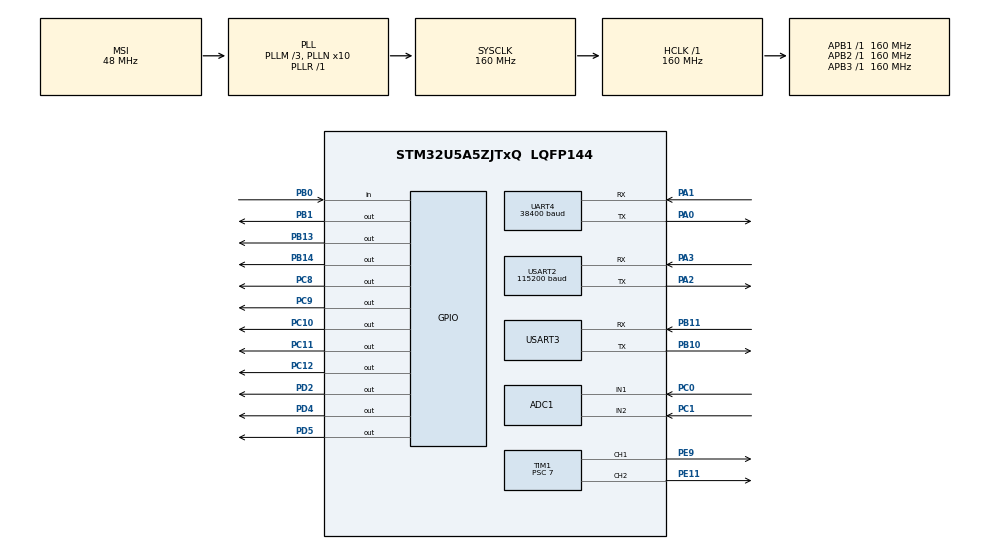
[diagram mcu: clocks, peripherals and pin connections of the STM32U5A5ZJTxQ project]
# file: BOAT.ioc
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ADC1.Channel-1\#ChannelRegularConversion=ADC_CHANNEL_1
ADC1.Channel-2\#ChannelRegularConversion=ADC_CHANNEL_2
ADC1.ContinuousConvMode=ENABLE
ADC1.DMAContinuousRequests=DISABLE
ADC1.MonitoredBy-1\#ChannelRegularConversion=__NULL
ADC1.MonitoredBy-2\#ChannelRegularConversion=__NULL
ADC1.NbrOfConversion=2
ADC1.NbrOfConversionFlag=1
ADC1.OffsetNumber-1\#ChannelRegularConversion=ADC_OFFSET_NONE
ADC1.OffsetNumber-2\#ChannelRegularConversion=ADC_OFFSET_NONE
ADC1.Rank-1\#ChannelRegularConversion=1
ADC1.Rank-2\#ChannelRegularConversion=2
ADC1.SamplingTime-1\#ChannelRegularConversion=ADC_SAMPLETIME_391CYCLES_5
ADC1.SamplingTime-2\#ChannelRegularConversion=ADC_SAMPLETIME_391CYCLES_5
ADC1.master=1
CORTEX_M33_NS.userName=CORTEX_M33
Mcu.Family=STM32U5
Mcu.Name=STM32U5A5ZJTxQ
Mcu.Package=LQFP144
NVIC.PriorityGroup=NVIC_PRIORITYGROUP_2
NVIC.UART4_IRQn=true\:2\:1\:true\:false\:true\:true\:true\:true
NVIC.USART2_IRQn=true\:2\:1\:true\:false\:true\:true\:true\:true
NVIC.USART3_IRQn=true\:0\:0\:false\:false\:true\:true\:true\:true
PA0.Mode=Asynchronous
PA0.Signal=UART4_TX
PA1.Mode=Asynchronous
PA1.Signal=UART4_RX
PA13\ (JTMS/SWDIO).Mode=Serial_Wire
PA13\ (JTMS/SWDIO).Signal=DEBUG_JTMS-SWDIO
PA14\ (JTCK/SWCLK).Mode=Serial_Wire
PA14\ (JTCK/SWCLK).Signal=DEBUG_JTCK-SWCLK
PA2.Mode=Asynchronous
PA2.Signal=USART2_TX
PA3.Mode=Asynchronous
PA3.Signal=USART2_RX
PB0.GPIO_PuPd=GPIO_PULLUP
PB0.Signal=GPIO_Input
PB1.Signal=GPIO_Output
PB10.Mode=Asynchronous
PB10.Signal=USART3_TX
PB11.Mode=Asynchronous
PB11.Signal=USART3_RX
PB13.Signal=GPIO_Output
PB14.Signal=GPIO_Output
PC0.Mode=IN1-Single-Ended
PC0.Signal=ADC1_IN1
PC1.Mode=IN2-Single-Ended
PC1.Signal=ADC1_IN2
PC10.Signal=GPIO_Output
PC11.Signal=GPIO_Output
PC12.Signal=GPIO_Output
PC14-OSC32_IN\ (PC14).Mode=LSE-External-Oscillator
PC14-OSC32_IN\ (PC14).Signal=RCC_OSC32_IN
PC15-OSC32_OUT\ (PC15).Mode=LSE-External-Oscillator
PC15-OSC32_OUT\ (PC15).Signal=RCC_OSC32_OUT
PC8.Signal=GPIO_Output
PC9.Signal=GPIO_Output
PD2.Signal=GPIO_Output
PD4.PinState=GPIO_PIN_SET
PD4.Signal=GPIO_Output
PD5.PinState=GPIO_PIN_SET
PD5.Signal=GPIO_Output
PE11.Signal=S_TIM1_CH2
PE9.Signal=S_TIM1_CH1
PH0-OSC_IN\ (PH0).Mode=HSE-External-Oscillator
PH0-OSC_IN\ (PH0).Signal=RCC_OSC_IN
PH1-OSC_OUT\ (PH1).Mode=HSE-External-Oscillator
PH1-OSC_OUT\ (PH1).Signal=RCC_OSC_OUT
ProjectManager.HeapSize=0x200
ProjectManager.StackSize=0x400
ProjectManager.TargetToolchain=MDK-ARM V5.32
RCC.ADCFreq_Value=16000000
RCC.AHBFreq_Value=160000000
RCC.APB1Freq_Value=160000000
RCC.APB1TimFreq_Value=160000000
RCC.APB2Freq_Value=160000000
RCC.APB2TimFreq_Value=160000000
RCC.APB3Freq_Value=160000000
RCC.CortexFreq_Value=160000000
RCC.EPOD_VALUE=48000000
RCC.HCLKFreq_Value=160000000
RCC.HSE_VALUE=16000000
RCC.HSI48_VALUE=48000000
RCC.HSI_VALUE=16000000
RCC.LSIDIV_VALUE=32000
RCC.MSIClockRange=RCC_MSIRANGE_0
RCC.MSI_VALUE=48000000
RCC.PLL1R=1
RCC.PLL2FRACN=0
RCC.PLL3FRACN=0
RCC.PLLFRACN=0
RCC.PLLM=3
RCC.PLLN=10
RCC.SYSCLKFreq_VALUE=160000000
RCC.SYSCLKSource=RCC_SYSCLKSOURCE_PLLCLK
RCC.VCOOutputFreq_Value=160000000
SH.S_TIM1_CH1.0=TIM1_CH1,PWM Generation1 CH1
SH.S_TIM1_CH2.0=TIM1_CH2,PWM Generation2 CH2
TIM1.AutoReloadPreload=TIM_AUTORELOAD_PRELOAD_ENABLE
TIM1.Channel-PWM\ Generation1\ CH1=TIM_CHANNEL_1
TIM1.Channel-PWM\ Generation2\ CH2=TIM_CHANNEL_2
TIM1.PeriodNoDither=999
TIM1.Prescaler=7
UART4.BaudRate=38400
USART2.BaudRate=115200
USART2.VirtualMode-Asynchronous=VM_ASYNC
USART3.VirtualMode-Asynchronous=VM_ASYNC
VP_ICACHE_VS_ICACHE.Mode=DirectMappedCache
VP_LPBAMQUEUE_VS_QUEUE.Mode=QUEUEMODE
VP_LPBAM_VS_SIG1.Mode=SmartRun
VP_LPBAM_VS_SIG4.Mode=LPDMA1
VP_MEMORYMAP_VS_MEMORYMAP.Mode=CurAppReg
VP_PWR_VS_SECSignals.Mode=Security/Privilege
VP_PWR_Vdda.Mode=isolationVdda
VP_TIM1_VS_ClockSourceINT.Mode=Internal
board=custom

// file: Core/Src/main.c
/* USER CODE BEGIN Header */
/**
  ******************************************************************************
  * @file           : main.c
  * @brief          : Main program body
  ******************************************************************************
  * @attention
  *
  * Copyright (c) 2026 STMicroelectronics.
  * All rights reserved.
  *
  * This software is licensed under terms that can be found in the LICENSE file
  * in the root directory of this software component.
  * If no LICENSE file comes with this software, it is provided AS-IS.
  *
  ******************************************************************************
  */
/* USER CODE END Header */
#include "main.h"
#include "adc.h"
#include "icache.h"
#include "tim.h"
#include "usart.h"
#include "gpio.h"

/* USER CODE BEGIN Includes */
#include <string.h>
#include <stdlib.h>
#include "Motor.h"
#include "Lora.h"
#include "DS18B20.h"
#include "PH.h"
#include "GPS.h"
#include "IMU901.h"
#include "Navigation.h"
#include "EdgeAI.h"

/* USER CODE END Includes */

/* USER CODE BEGIN PD */
#define TELEMETRY_ADC_FULL_SCALE        16383U
#define TELEMETRY_ADC_VREF_MV           3300U
#define TELEMETRY_PH_SCALE_NUM          1U
#define TELEMETRY_PH_SCALE_DEN          1U
/* 遥测周期。这是上行占用的空口时间，直接决定下行命令能否挤进去。
 *
 * 实测（90 字节下行报文，各测 3 次）：
 *   遥测 1000ms -> 下行 0/3    空口被占满，命令完全发不进去
 *   遥测 1500ms -> 下行 3/3
 *   遥测 2000ms -> 下行 3/3
 *   遥测 3000ms -> 下行 3/3
 *
 * 取 2000ms 作为默认：比临界点 1500 留出余量，现场射频环境更差时也不至于失联。
 * 需要更快的界面刷新可以在运行时用 T<毫秒> 指令调整。 */
#define TELEMETRY_PERIOD_MS              2000U
#define NAV_UPDATE_PERIOD_MS             50U
/* USER CODE END PD */

/* USER CODE BEGIN PV */
static uint32_t last_telemetry_ms = 0;
static uint32_t last_nav_update_ms = 0;

/* 遥测周期可调。上行遥测会占用空中时间，与下行命令互相抢信道；
 * 把周期拉长可以给下行腾出空口，用于排查链路问题。 */
static uint32_t telemetry_period_ms = TELEMETRY_PERIOD_MS;
/* USER CODE END PV */

void SystemClock_Config(void);
/* USER CODE BEGIN PFP */
static uint32_t Telemetry_ReadAdcRaw(uint32_t channel);
static uint32_t Telemetry_AdcRawToMv(uint32_t raw);
static int32_t Telemetry_ScaleFloat(float value, float scale);
static int32_t Telemetry_CalcPhX100(uint32_t sensor_mv);
static void Telemetry_SendData(void);
/* USER CODE END PFP */

/* USER CODE BEGIN 0 */
static uint32_t Telemetry_ReadAdcRaw(uint32_t channel)
{
  ADC_ChannelConfTypeDef sConfig = {0};
  uint32_t value = 0;

  HAL_ADC_Stop(&hadc1);

  sConfig.Channel = channel;
  sConfig.Rank = ADC_REGULAR_RANK_1;
  sConfig.SamplingTime = ADC_SAMPLETIME_391CYCLES_5;
  sConfig.SingleDiff = ADC_SINGLE_ENDED;
  sConfig.OffsetNumber = ADC_OFFSET_NONE;
  sConfig.Offset = 0;

  if (HAL_ADC_ConfigChannel(&hadc1, &sConfig) != HAL_OK)
  {
    return 0xFFFFFFFFU;
  }

  if (HAL_ADC_Start(&hadc1) != HAL_OK)
  {
    return 0xFFFFFFFFU;
  }

  if (HAL_ADC_PollForConversion(&hadc1, 20) == HAL_OK)
  {
    value = HAL_ADC_GetValue(&hadc1);
  }
  else
  {
    value = 0xFFFFFFFFU;
  }

  HAL_ADC_Stop(&hadc1);
  return value;
}

static uint32_t Telemetry_AdcRawToMv(uint32_t raw)
{
  return raw * TELEMETRY_ADC_VREF_MV / TELEMETRY_ADC_FULL_SCALE;
}

static int32_t Telemetry_ScaleFloat(float value, float scale)
{
  if (value >= 0.0f)
  {
    return (int32_t)(value * scale + 0.5f);
  }
  return (int32_t)(value * scale - 0.5f);
}

static int32_t Telemetry_CalcPhX100(uint32_t sensor_mv)
{
  float voltage = (float)sensor_mv / 1000.0f;
  float ph = -5.6342f * voltage + 16.413f;

  if (ph < 0.0f) ph = 0.0f;
  if (ph > 14.0f) ph = 14.0f;

  return Telemetry_ScaleFloat(ph, 100.0f);
}

static void Telemetry_SendData(void)
{
  static uint32_t seq = 0;
  uint32_t ph_raw = Telemetry_ReadAdcRaw(PH_ADC_CHANNEL);
  uint32_t ph_adc_mv = (ph_raw == 0xFFFFFFFFU) ? 0U : Telemetry_AdcRawToMv(ph_raw);
  uint32_t ph_sensor_mv = ph_adc_mv * TELEMETRY_PH_SCALE_NUM / TELEMETRY_PH_SCALE_DEN;
  int32_t ph_x100 = (ph_raw == 0xFFFFFFFFU) ? 0 : Telemetry_CalcPhX100(ph_sensor_mv);
  float temp = DS18B20_GetTemp();
  uint8_t temp_valid = (temp > -100.0f) ? 1U : 0U;
  int32_t temp_x100 = temp_valid ? Telemetry_ScaleFloat(temp, 100.0f) : 0;
  uint8_t gps_valid = GPS_IsFixed() ? 1U : 0U;
  int32_t lat_x1e7 = gps_valid ? Telemetry_ScaleFloat(gps_data.latitude, 10000000.0f) : 0;
  int32_t lon_x1e7 = gps_valid ? Telemetry_ScaleFloat(gps_data.longitude, 10000000.0f) : 0;
  uint8_t imu_valid = (imu901_attitude_count > 0U) ? 1U : 0U;
  int32_t imu_roll_x100 = imu_valid ? Telemetry_ScaleFloat(attitude.roll, 100.0f) : 0;
  int32_t imu_pitch_x100 = imu_valid ? Telemetry_ScaleFloat(attitude.pitch, 100.0f) : 0;
  int32_t imu_yaw_x100 = imu_valid ? Telemetry_ScaleFloat(attitude.yaw, 100.0f) : 0;
  EdgeAI_Status_t ai_status;

  EdgeAI_UpdatePh(ph_x100, (ph_raw == 0xFFFFFFFFU) ? 0U : ph_raw, ph_sensor_mv);
  EdgeAI_UpdateTemperature(temp_x100, temp_valid);
  ai_status = EdgeAI_GetStatus();

  Lora_Printf("{\"t\":\"data\",\"v\":1,\"seq\":%lu,\"ms\":%lu,"
              "\"ph\":%ld,\"phr\":%lu,\"phmv\":%lu,"
              "\"tc\":%ld,\"tv\":%u,"
              "\"fix\":%u,\"sat\":%u,\"lat\":%ld,\"lon\":%ld,"
              "\"iv\":%u,\"ir\":%ld,\"ip\":%ld,\"iy\":%ld,\"ib\":%lu,\"ia\":%lu,"
              "\"gb\":%lu,\"gl\":%lu,\"lr\":%lu,"
              "\"ns\":%u,\"nd\":%ld,\"nt\":%ld,\"bs\":%u,\"bd\":%ld,\"rs\":%u,\"rd\":%ld,\"xt\":%ld,\"ch\":%ld,"
              "\"to\":%d,\"lw\":%d,\"rw\":%d,"
              "\"hk\":%ld,\"hi\":%ld,\"hd\":%ld,\"xk\":%ld,\"xi\":%ld,\"xd\":%ld,"
              "\"aiph\":%u,\"aiphn\":%u,\"ait\":%u,\"aitn\":%u,"
              "\"api\":%d,\"apd\":%d,\"ati\":%d,\"atd\":%d,"
              "\"mls\":%ld,\"mrs\":%ld,\"mlo\":%ld,\"mro\":%ld,"
              "\"mlz\":%ld,\"mrz\":%ld,\"ys\":%d,\"yos\":%ld,\"mds\":%d}\r\n",
              (unsigned long)seq++,
              (unsigned long)HAL_GetTick(),
              (long)ph_x100,
              (unsigned long)((ph_raw == 0xFFFFFFFFU) ? 0U : ph_raw),
              (unsigned long)ph_sensor_mv,
              (long)temp_x100,
              temp_valid,
              gps_data.fix,
              gps_data.satellite_num,
              (long)lat_x1e7,
              (long)lon_x1e7,
              imu_valid,
              (long)imu_roll_x100,
              (long)imu_pitch_x100,
              (long)imu_yaw_x100,
              (unsigned long)imu901_rx_count,
              (unsigned long)imu901_attitude_count,
              (unsigned long)gps_rx_count,
              (unsigned long)gps_sentence_count,
              (unsigned long)lora_rx_bytes,
              (unsigned int)nav.state,
              (long)((nav.state != NAV_IDLE) ? (nav.distance * 100.0f) : 0.0f),
              (long)(nav.heading_error * 100.0f),
              (unsigned int)nav.boundary_state,
              (long)(nav.boundary_distance_m * 100.0f),
              (unsigned int)nav.return_state,
              (long)(nav.return_distance_m * 100.0f),
              (long)(nav.cross_track_error_m * 100.0f),
              (long)(nav.corrected_heading * 100.0f),
              (int)nav.turn_output,
              (int)Motor_GetLastPwm(MOTOR_SPEED_LEFT),
              (int)Motor_GetLastPwm(MOTOR_SPEED_RIGHT),
              (long)(heading_pid.kp * 1000.0f),
              (long)(heading_pid.ki * 1000.0f),
              (long)(heading_pid.kd * 1000.0f),
              (long)(crosstrack_pid.kp * 1000.0f),
              (long)(crosstrack_pid.ki * 1000.0f),
              (long)(crosstrack_pid.kd * 1000.0f),
              ai_status.ph_similarity,
              ai_status.ph_normal,
              ai_status.temperature_similarity,
              ai_status.temperature_normal,
              (int)ai_status.ph_init_state,
              (int)ai_status.ph_detect_state,
              (int)ai_status.temperature_init_state,
              (int)ai_status.temperature_detect_state,
              (long)(motor_cal.left_scale * 100.0f),
              (long)(motor_cal.right_scale * 100.0f),
              (long)motor_cal.left_offset,
              (long)motor_cal.right_offset,
              (long)motor_cal.left_deadzone,
              (long)motor_cal.right_deadzone,
              (int)Navigation_GetYawSign(),
              (long)(Navigation_GetYawOffset() * 100.0f),
              (int)motor_cal.dir_sign);
}
/* USER CODE END 0 */

int main(void)
{

  /* MCU Configuration--------------------------------------------------------*/

  /* Reset of all peripherals, Initializes the Flash interface and the Systick. */
  HAL_Init();

  /* Configure the system clock */
  SystemClock_Config();

  /* Initialize all configured peripherals */
  MX_GPIO_Init();
  MX_ICACHE_Init();
  MX_TIM1_Init();
  MX_ADC1_Init();
  MX_USART2_UART_Init();
  MX_USART3_UART_Init();
  MX_UART4_Init();
  /* USER CODE BEGIN 2 */
  Motor_Init();
  Motor_Stop_All();
  Lora_Init();
  Lora_StartReceive();
  DS18B20_Init();
  PH_Init();
  GPS_Init();
  IMU901_Init();
  Navigation_Init();
  EdgeAI_Init();

  Lora_Printf("{\"t\":\"boot\",\"v\":1,\"ms\":%lu,\"msg\":\"boat telemetry start\",\"phdiv\":100,\"tbdiv\":150}\r\n",
              (unsigned long)HAL_GetTick());
  /* USER CODE END 2 */

  /* Infinite loop */
  while (1)
  {

    /* USER CODE BEGIN 3 */
    /* check LoRa downlink target command */
    {
      Lora_TargetCmd_t cmd;
      if (Lora_GetPendingCommand(&cmd))
      {
        Navigation_SetMissionTarget((float)cmd.lat / 10000000.0f,
                                    (float)cmd.lon / 10000000.0f,
                                    (float)cmd.ar,
                                    (float)cmd.r,
                                    (float)cmd.rr,
                                    (float)cmd.bclat / 10000000.0f,
                                    (float)cmd.bclon / 10000000.0f,
                                    cmd.blen,
                                    cmd.bwid,
                                    (float)cmd.bm);
        Navigation_Start();
        Lora_Printf("{\"t\":\"ack\",\"kind\":\"target\",\"zone\":\"%s\",\"lat\":%ld,\"lon\":%ld,\"r\":%ld,\"ar\":%ld,\"rr\":%ld,\"bm\":%ld}\r\n",
                     cmd.zone, (long)cmd.lat, (long)cmd.lon, (long)cmd.r, (long)cmd.ar, (long)cmd.rr, (long)cmd.bm);
      }
    }

    /* check LoRa downlink cmd command */
    {
      Lora_Cmd_t cmd;
      if (Lora_GetPendingCmd(&cmd))
      {
        if (strcmp(cmd.cmd, "stop") == 0)
        {
          Navigation_Stop();
          Lora_Printf("{\"t\":\"ack\",\"kind\":\"cmd\",\"cmd\":\"stop\"}\r\n");
        }
        else if (strcmp(cmd.cmd, "start") == 0)
        {
          Lora_Printf("{\"t\":\"ack\",\"kind\":\"cmd\",\"cmd\":\"start\"}\r\n");
        }
        else if (strcmp(cmd.cmd, "sensor") == 0)
        {
          Telemetry_SendData();
          last_telemetry_ms = HAL_GetTick();
          Lora_Printf("{\"t\":\"ack\",\"kind\":\"cmd\",\"cmd\":\"sensor\"}\r\n");
        }
        else if (cmd.cmd[0] == 'T' && cmd.cmd[1] >= '0' && cmd.cmd[1] <= '9')
        {
          /* T<ms> 设定遥测周期 */
          uint32_t ms = (uint32_t)atoi(&cmd.cmd[1]);
          if (ms < 200U)  ms = 200U;
          if (ms > 60000U) ms = 60000U;
          telemetry_period_ms = ms;
          Lora_Printf("{\"t\":\"ack\",\"kind\":\"cmd\",\"cmd\":\"T\",\"period\":%lu}\r\n",
                      (unsigned long)telemetry_period_ms);
        }
        else if (strcmp(cmd.cmd, "quiet") == 0)
        {
          telemetry_period_ms = 8000U;
          Lora_Printf("{\"t\":\"ack\",\"kind\":\"cmd\",\"cmd\":\"quiet\",\"period\":%lu}\r\n",
                      (unsigned long)telemetry_period_ms);
        }
        else if (strcmp(cmd.cmd, "loud") == 0)
        {
          telemetry_period_ms = TELEMETRY_PERIOD_MS;
          Lora_Printf("{\"t\":\"ack\",\"kind\":\"cmd\",\"cmd\":\"loud\",\"period\":%lu}\r\n",
                      (unsigned long)telemetry_period_ms);
        }
        else if (strcmp(cmd.cmd, "dtest") == 0)
        {
          Navigation_Stop();
          /* 方向引脚直接测试：正转 2s → 反转 2s */
          HAL_GPIO_WritePin(GPIOC, GPIO_PIN_8, GPIO_PIN_SET);
          HAL_GPIO_WritePin(GPIOC, GPIO_PIN_9, GPIO_PIN_RESET);
          HAL_GPIO_WritePin(GPIOC, GPIO_PIN_10, GPIO_PIN_SET);
          HAL_GPIO_WritePin(GPIOC, GPIO_PIN_11, GPIO_PIN_RESET);
          __HAL_TIM_SET_COMPARE(&htim1, TIM_CHANNEL_1, 500);
          __HAL_TIM_SET_COMPARE(&htim1, TIM_CHANNEL_2, 500);
          Lora_Printf("{\"t\":\"ack\",\"kind\":\"dtest\",\"dir\":\"FWD\",\"pc_odr\":\"0x%04lx\",\"pc8\":%d,\"pc9\":%d}\r\n",
                       (unsigned long)(GPIOC->ODR & 0xFFFFUL),
                       (int)((GPIOC->ODR & GPIO_PIN_8) ? 1 : 0),
                       (int)((GPIOC->ODR & GPIO_PIN_9) ? 1 : 0));
          HAL_Delay(2000);
          HAL_GPIO_WritePin(GPIOC, GPIO_PIN_8, GPIO_PIN_RESET);
          HAL_GPIO_WritePin(GPIOC, GPIO_PIN_9, GPIO_PIN_SET);
          HAL_GPIO_WritePin(GPIOC, GPIO_PIN_10, GPIO_PIN_RESET);
          HAL_GPIO_WritePin(GPIOC, GPIO_PIN_11, GPIO_PIN_SET);
          __HAL_TIM_SET_COMPARE(&htim1, TIM_CHANNEL_1, 500);
          __HAL_TIM_SET_COMPARE(&htim1, TIM_CHANNEL_2, 500);
          Lora_Printf("{\"t\":\"ack\",\"kind\":\"dtest\",\"dir\":\"REV\",\"pc_odr\":\"0x%04lx\",\"pc8\":%d,\"pc9\":%d}\r\n",
                       (unsigned long)(GPIOC->ODR & 0xFFFFUL),
                       (int)((GPIOC->ODR & GPIO_PIN_8) ? 1 : 0),
                       (int)((GPIOC->ODR & GPIO_PIN_9) ? 1 : 0));
          HAL_Delay(2000);
          Motor_Stop_All();
          Lora_Printf("{\"t\":\"ack\",\"kind\":\"dtest\",\"msg\":\"done\"}\r\n");
        }
        else
        {
          Lora_Printf("{\"t\":\"ack\",\"kind\":\"cmd\",\"cmd\":\"%s\",\"err\":\"unknown\"}\r\n", cmd.cmd);
        }
      }
    }

    /* check LoRa downlink motor command */
    {
      Lora_MotorCmd_t cmd;
      if (Lora_GetPendingMotorCmd(&cmd))
      {
        Navigation_Stop();
        Lora_Printf("{\"t\":\"ack\",\"kind\":\"motor_raw\",\"l\":%ld,\"r\":%ld}\r\n",
                     (long)cmd.l, (long)cmd.r);
        Motor_Go_PWM(MOTOR_SPEED_LEFT, (int16_t)cmd.l);
        Motor_Go_PWM(MOTOR_SPEED_RIGHT, (int16_t)cmd.r);
        Lora_Printf("{\"t\":\"ack\",\"kind\":\"motor\",\"l\":%ld,\"r\":%ld}\r\n",
                     (long)cmd.l, (long)cmd.r);
      }
    }

    /* check LoRa downlink pid command (运行时整定，免重新烧录) */
    {
      Lora_PidCmd_t cmd;
      if (Lora_GetPendingPidCmd(&cmd))
      {
        Navigation_SetPid(cmd.hkp, cmd.hki, cmd.hkd, cmd.xkp, cmd.xki, cmd.xkd);
        if (cmd.ys != 0) Navigation_SetYawSign(cmd.ys);   /* IMU 方向翻转，水上可改 */
        if (cmd.yawos != -999.0f) Navigation_SetYawOffset(cmd.yawos);  /* IMU 安装偏置 */
        /* 增益用整数 ×1000 回显。newlib-nano 默认不链接浮点 printf，
         * 原来的 %.3f 会输出空字符串（"hk":,），命令有没有生效完全看不出来。
         * 与遥测里的 hk/hi/hd 保持同一种编码，也不引入浮点格式化开销。 */
        Lora_Printf("{\"t\":\"ack\",\"kind\":\"pid\",\"hk\":%ld,\"hi\":%ld,\"hd\":%ld,"
                    "\"xk\":%ld,\"xi\":%ld,\"xd\":%ld,\"ys\":%d,\"yawos\":%ld}\r\n",
                    (long)(heading_pid.kp * 1000.0f), (long)(heading_pid.ki * 1000.0f),
                    (long)(heading_pid.kd * 1000.0f),
                    (long)(crosstrack_pid.kp * 1000.0f), (long)(crosstrack_pid.ki * 1000.0f),
                    (long)(crosstrack_pid.kd * 1000.0f),
                    (int)Navigation_GetYawSign(),
                    (long)(Navigation_GetYawOffset() * 100.0f));
      }
    }

    /* check LoRa downlink heading test command（室内调内环，不需要 GPS） */
    {
      Lora_HeadingCmd_t cmd;
      if (Lora_GetPendingHeadingCmd(&cmd))
      {
        if (cmd.query)
        {
          NavHeadingMetrics_t m;
          Navigation_GetHeadingMetrics(&m);
          /* 角度统一 ×100 用整数回传（newlib-nano 不支持 %f） */
          Lora_Printf("{\"t\":\"ack\",\"kind\":\"hdg\",\"q\":1,"
                      "\"tg\":%ld,\"cur\":%ld,\"err\":%ld,\"step\":%ld,"
                      "\"ovs\":%ld,\"ts\":%ld,\"rms\":%ld,\"cx\":%u,\"n\":%lu}\r\n",
                      (long)(m.target_deg * 100.0f), (long)(m.current_deg * 100.0f),
                      (long)(m.err_deg * 100.0f), (long)(m.step_deg * 100.0f),
                      (long)(m.overshoot_deg * 100.0f), (long)(m.settle_time_s * 100.0f),
                      (long)(m.rms_err_deg * 100.0f), (unsigned)m.crossings,
                      (unsigned long)m.samples);
        }
        else
        {
          Navigation_StartHeadingTest(cmd.deg, cmd.spd);
          Lora_Printf("{\"t\":\"ack\",\"kind\":\"hdg\",\"tg\":%ld}\r\n",
                      (long)(nav.target_heading * 100.0f));
        }
      }
    }

    /* check LoRa downlink mcal (motor calibration) command */
    {
      Lora_MotorCalCmd_t cmd;
      if (Lora_GetPendingMotorCalCmd(&cmd))
      {
        Motor_SetCalibration(cmd.ls, cmd.rs, cmd.lo, cmd.ro, cmd.ldz, cmd.rdz);
        if (cmd.dir != 0) Motor_SetDirSign(cmd.dir);
        Lora_Printf("{\"t\":\"ack\",\"kind\":\"mcal\",\"ls\":%ld,\"rs\":%ld,\"lo\":%ld,\"ro\":%ld,"
                    "\"ldz\":%ld,\"rdz\":%ld,\"dir\":%d}\r\n",
                     (long)(motor_cal.left_scale * 100.0f),
                     (long)(motor_cal.right_scale * 100.0f),
                     (long)motor_cal.left_offset, (long)motor_cal.right_offset,
                     (long)motor_cal.left_deadzone, (long)motor_cal.right_deadzone,
                     (int)motor_cal.dir_sign);
      }
    }

    {
      uint32_t now = HAL_GetTick();

      /* 温度采集状态机：非阻塞，必须在主循环里持续推进 */
      DS18B20_Update();

      if ((now - last_nav_update_ms) >= NAV_UPDATE_PERIOD_MS)
      {
        Navigation_Update();
        last_nav_update_ms = now;
      }

      if ((now - last_telemetry_ms) >= telemetry_period_ms)
      {
        Telemetry_SendData();
        last_telemetry_ms = now;
      }
    }

    HAL_Delay(20);
  }
  /* USER CODE END 3 */
}

void SystemClock_Config(void)
{
  RCC_OscInitTypeDef RCC_OscInitStruct = {0};
  RCC_ClkInitTypeDef RCC_ClkInitStruct = {0};

  /** Configure the main internal regulator output voltage
  */
  if (HAL_PWREx_ControlVoltageScaling(PWR_REGULATOR_VOLTAGE_SCALE1) != HAL_OK)
  {
    Error_Handler();
  }

  /** Initializes the CPU, AHB and APB buses clocks
  */
  RCC_OscInitStruct.OscillatorType = RCC_OSCILLATORTYPE_HSI|RCC_OSCILLATORTYPE_MSI;
  RCC_OscInitStruct.HSIState = RCC_HSI_ON;
  RCC_OscInitStruct.HSICalibrationValue = RCC_HSICALIBRATION_DEFAULT;
  RCC_OscInitStruct.MSIState = RCC_MSI_ON;
  RCC_OscInitStruct.MSICalibrationValue = RCC_MSICALIBRATION_DEFAULT;
  RCC_OscInitStruct.MSIClockRange = RCC_MSIRANGE_0;
  RCC_OscInitStruct.PLL.PLLState = RCC_PLL_ON;
  RCC_OscInitStruct.PLL.PLLSource = RCC_PLLSOURCE_MSI;
  RCC_OscInitStruct.PLL.PLLMBOOST = RCC_PLLMBOOST_DIV4;
  RCC_OscInitStruct.PLL.PLLM = 3;
  RCC_OscInitStruct.PLL.PLLN = 10;
  RCC_OscInitStruct.PLL.PLLP = 2;
  RCC_OscInitStruct.PLL.PLLQ = 2;
  RCC_OscInitStruct.PLL.PLLR = 1;
  RCC_OscInitStruct.PLL.PLLRGE = RCC_PLLVCIRANGE_1;
  RCC_OscInitStruct.PLL.PLLFRACN = 0;
  if (HAL_RCC_OscConfig(&RCC_OscInitStruct) != HAL_OK)
  {
    Error_Handler();
  }

  /** Initializes the CPU, AHB and APB buses clocks
  */
  RCC_ClkInitStruct.ClockType = RCC_CLOCKTYPE_HCLK|RCC_CLOCKTYPE_SYSCLK
                              |RCC_CLOCKTYPE_PCLK1|RCC_CLOCKTYPE_PCLK2
                              |RCC_CLOCKTYPE_PCLK3;
  RCC_ClkInitStruct.SYSCLKSource = RCC_SYSCLKSOURCE_PLLCLK;
  RCC_ClkInitStruct.AHBCLKDivider = RCC_SYSCLK_DIV1;
  RCC_ClkInitStruct.APB1CLKDivider = RCC_HCLK_DIV1;
  RCC_ClkInitStruct.APB2CLKDivider = RCC_HCLK_DIV1;
  RCC_ClkInitStruct.APB3CLKDivider = RCC_HCLK_DIV1;

  if (HAL_RCC_ClockConfig(&RCC_ClkInitStruct, FLASH_LATENCY_4) != HAL_OK)
  {
    Error_Handler();
  }
}

void Error_Handler(void)
{
  __disable_irq();
  while (1)
  {
  }
}
